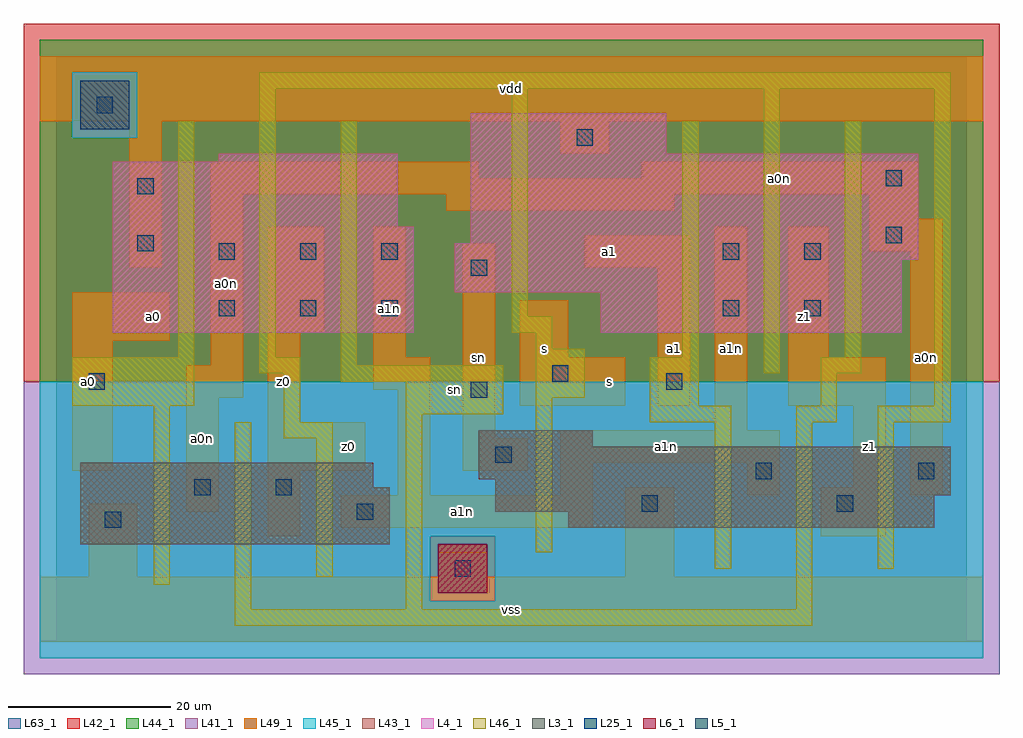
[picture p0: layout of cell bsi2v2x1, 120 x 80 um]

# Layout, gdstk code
import gdstk
lib = gdstk.Library(unit=1e-6, precision=1e-09)
def R(c, l, rs):  # rectangles x0, y0, x1, y1
    for r in rs: c.add(gdstk.rectangle(r[:2], r[2:], *l))
def A(c, l, x, y, w, h, nx, ny, dx, dy):  # array of equal rectangles
    R(c, l, [(x+i*dx, y+j*dy, x+i*dx+w, y+j*dy+h) for i in range(nx) for j in range(ny)])
L3_1 = (3, 1)
L4_1 = (4, 1)
L5_1 = (5, 1)
L6_1 = (6, 1)
L25_1 = (25, 1)
L41_1 = (41, 1)
L42_1 = (42, 1)
L43_1 = (43, 1)
L44_1 = (44, 1)
L45_1 = (45, 1)
L46_1 = (46, 1)
L49_1 = (49, 1)
L63_1 = (63, 1)

bsi2v2x1 = lib.new_cell('bsi2v2x1')
R(bsi2v2x1, L3_1, [(3,12,41,19), (63,14,108,16), (54,16,108,18), (54,18,110,20), (3,19,39,22), (52,20,110,24), (52,24,66,26)])
R(bsi2v2x1, L4_1, [(7,38,44,51), (67,38,104,43), (49,43,104,47), (49,47,106,49), (51,49,106,60), (7,51,42,59), (20,59,42,60), (51,60,75,65)])
R(bsi2v2x1, L5_1, [(3,63,9,69)])
R(bsi2v2x1, L6_1, [(47,6,53,12), (47,6,53,12)])
A(bsi2v2x1, L25_1, 20, 40, 2, 2, 3, 2, 10, 7)
R(bsi2v2x1, L25_1, [(49,8,51,10), (6,14,8,16), (37,15,39,17), (72,16,74,18), (96,16,98,18), (17,18,19,20), (27,18,29,20), (86,20,88,22), (106,20,108,22), (54,22,56,24), (51,30,53,32), (4,31,6,33), (75,31,77,33), (61,32,63,34), (82,40,84,42), (92,40,94,42), (51,45,53,47), (82,47,84,49), (92,47,94,49), (10,48,12,50), (102,49,104,51), (10,55,12,57), (102,56,104,58), (64,61,66,63), (5,65,7,67)])
R(bsi2v2x1, L41_1, [(-4,-4,116,32)])
R(bsi2v2x1, L42_1, [(-4,32,116,76)])
R(bsi2v2x1, L43_1, [(47,6,53,12), (3,12,41,19), (63,14,108,16), (54,16,108,18), (54,18,110,20), (3,19,39,22), (52,20,110,24), (52,24,66,26), (7,38,44,51), (67,38,104,43), (49,43,104,47), (49,47,106,49), (51,49,106,60), (7,51,42,59), (20,59,42,60), (51,60,75,65), (3,63,9,69)])
R(bsi2v2x1, L44_1, [(46,5,54,13), (-2,32,114,62), (-2,62,2,70), (10,62,114,70), (-2,70,114,74)])
R(bsi2v2x1, L45_1, [(-2,-2,114,5), (-2,5,46,13), (54,5,114,13), (-2,13,114,32), (2,62,10,70)])
R(bsi2v2x1, L46_1, [(22,2,93,4), (22,4,24,27), (43,4,45,28), (91,4,93,27), (12,7,14,29), (32,8,34,25), (81,9,83,27), (101,9,103,27), (59,11,61,30), (28,25,34,27), (28,27,30,33), (73,27,83,29), (91,27,96,29), (101,27,110,29), (43,28,55,32), (2,29,17,35), (73,29,79,35), (94,29,96,33), (108,29,110,68), (59,30,65,36), (35,32,55,34), (25,33,30,35), (87,33,89,68), (94,33,99,35), (35,34,37,64), (15,35,17,64), (25,35,27,68), (77,35,79,64), (97,35,99,64), (59,36,61,38), (56,38,61,40), (56,40,58,68), (25,68,110,70)])
R(bsi2v2x1, L49_1, [(-2,0,114,8), (4,8,10,17), (47,8,53,11), (70,8,76,19), (26,13,30,21), (94,13,102,19), (35,14,66,18), (16,16,20,30), (42,18,46,31), (62,18,66,22), (85,18,89,22), (105,18,109,48), (98,19,102,29), (2,21,7,37), (26,21,38,27), (50,21,58,25), (62,22,89,26), (50,25,54,49), (81,26,85,51), (26,27,30,38), (57,29,70,35), (74,29,78,46), (90,29,102,35), (16,30,23,34), (39,31,46,35), (19,34,23,55), (39,35,43,51), (57,35,63,42), (90,35,95,51), (2,37,14,43), (26,38,33,51), (9,46,13,64), (65,46,78,50), (100,48,109,52), (100,52,106,55), (48,53,76,55), (19,55,106,57), (19,57,52,59), (72,57,106,59), (62,60,68,64), (-2,64,114,72)])
R(bsi2v2x1, L63_1, [(0,0,112,72)])
bsi2v2x1.add(gdstk.Label('sn', (49,31), layer=46, texttype=1))
bsi2v2x1.add(gdstk.Label('a0', (4,32), layer=49, texttype=1))
bsi2v2x1.add(gdstk.Label('a0n', (18,25), layer=49, texttype=1))
bsi2v2x1.add(gdstk.Label('a0', (12,40), layer=49, texttype=1))
bsi2v2x1.add(gdstk.Label('z0', (36,24), layer=49, texttype=1))
bsi2v2x1.add(gdstk.Label('z0', (28,32), layer=49, texttype=1))
bsi2v2x1.add(gdstk.Label('a1n', (41,41), layer=49, texttype=1))
bsi2v2x1.add(gdstk.Label('a0n', (21,44), layer=49, texttype=1))
bsi2v2x1.add(gdstk.Label('vss', (56,4), layer=49, texttype=1))
bsi2v2x1.add(gdstk.Label('a1n', (50,16), layer=49, texttype=1))
bsi2v2x1.add(gdstk.Label('s', (60,36), layer=49, texttype=1))
bsi2v2x1.add(gdstk.Label('sn', (52,35), layer=49, texttype=1))
bsi2v2x1.add(gdstk.Label('vdd', (56,68), layer=49, texttype=1))
bsi2v2x1.add(gdstk.Label('a1n', (75,24), layer=49, texttype=1))
bsi2v2x1.add(gdstk.Label('s', (68,32), layer=49, texttype=1))
bsi2v2x1.add(gdstk.Label('a1', (76,36), layer=49, texttype=1))
bsi2v2x1.add(gdstk.Label('a1n', (83,36), layer=49, texttype=1))
bsi2v2x1.add(gdstk.Label('a1', (68,48), layer=49, texttype=1))
bsi2v2x1.add(gdstk.Label('z1', (100,24), layer=49, texttype=1))
bsi2v2x1.add(gdstk.Label('z1', (92,40), layer=49, texttype=1))
bsi2v2x1.add(gdstk.Label('a0n', (107,35), layer=49, texttype=1))
bsi2v2x1.add(gdstk.Label('a0n', (89,57), layer=49, texttype=1))

lib.write_gds('bsi2v2x1.gds')
